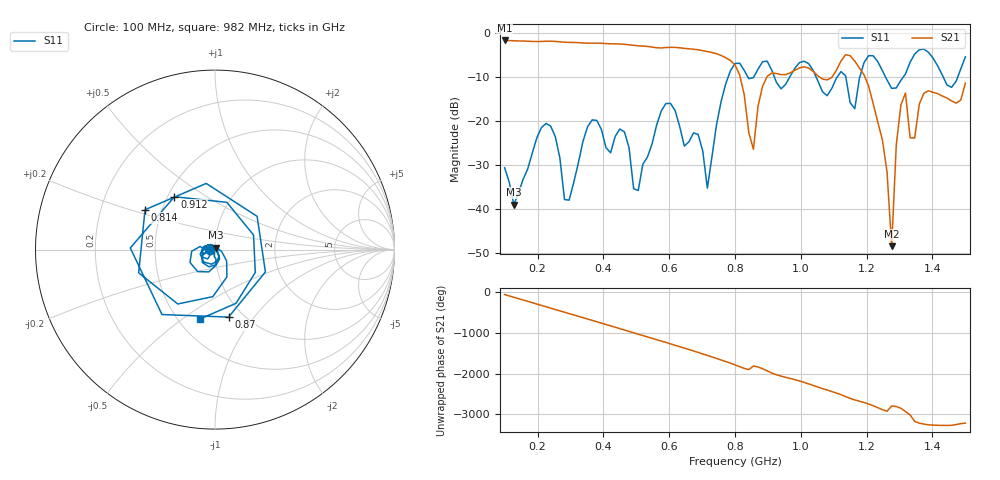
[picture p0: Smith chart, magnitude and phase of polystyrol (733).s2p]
! NanoVNA-App
! Date: 2025-09-25 15:35:35
! Start: 100MHz Stop: 1,5GHz Points: 101
! S-Parameter data: F S11 S21 S12 S22
# Hz S RI R 50
!  Frequency  S11_Real  S11_Imag  S21_Real  S21_Imag  S12_Real  S12_Imag  S22_Real  S22_Imag
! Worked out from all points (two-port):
!   101 points, 100 MHz to 1.5 GHz, reference 50 ohm
!   highest |S21| = -1.80 dB at 100 MHz (marker M1); lowest = -48.5 dB at 1.276 GHz (marker M2)
!   |S21| within 3 dB of the highest: start of sweep to 743.1 MHz
!   lowest |S11| = -39.1 dB at 128 MHz (marker M3), VSWR 1.02, Z = 50.3 + j1.06 ohm
!   |S11| at or under -10 dB: start of sweep to 779.8 MHz; 1.046 GHz to 1.112 GHz (65.82 MHz wide, 6.1 % of centre); 1.257 GHz to 1.312 GHz (55.61 MHz wide, 4.33 % of centre) (the widest 3 of 7)
!   S12 and S22 are empty: the file has one direction only
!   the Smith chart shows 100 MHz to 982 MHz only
!   S11 on the Smith chart (normalised r, x): 100 MHz: 0.94, -0.01; 814 MHz: 0.40, +0.22; 870 MHz: 0.86, -0.76; 912 MHz: 0.54, +0.37; 982 MHz: 0.64, -0.59
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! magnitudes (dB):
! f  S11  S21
! 100 MHz  -30.7  -1.8
! 128 MHz  -39.1  -1.9
! 212 MHz  -21.6  -2.0
! 282 MHz  -37.9  -2.2
! 338 MHz  -24.7  -2.4
! 506 MHz  -35.9  -3.0
! 576 MHz  -17.8  -3.5
! 716 MHz  -35.3  -4.3
! 800 MHz  -7.0  -7.4
! 814 MHz  -7.0  -9.6
! 856 MHz  -10.2  -26.5
! 870 MHz  -8.3  -16.7
! 912 MHz  -8.6  -9.2
! 982 MHz  -8.1  -8.6
! 1.038 GHz  -8.7  -8.9
! 1.192 GHz  -6.8  -9.6
! 1.248 GHz  -8.7  -24.5
! 1.276 GHz  -12.7  -48.5
! 1.29 GHz  -12.6  -25.6
! 1.318 GHz  -9.4  -13.7
! 1.346 GHz  -4.9  -23.9
! 1.5 GHz  -5.5  -11.5
